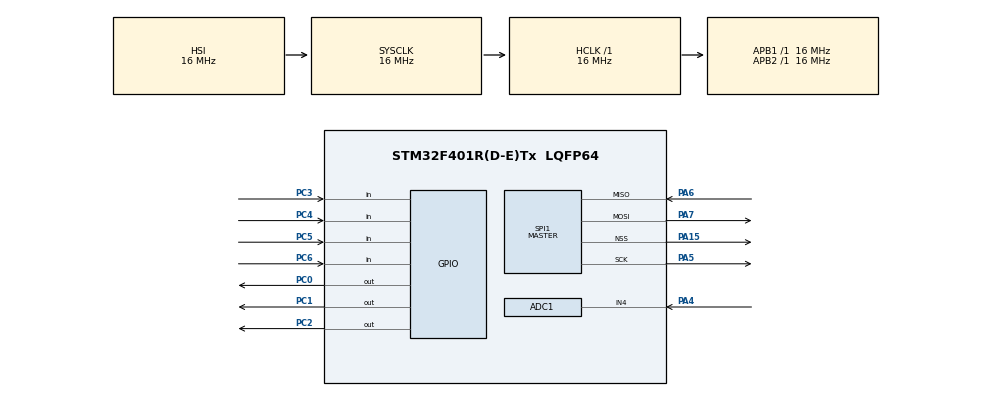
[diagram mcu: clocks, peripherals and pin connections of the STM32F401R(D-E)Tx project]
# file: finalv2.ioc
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ADC1.Channel-1\#ChannelRegularConversion=ADC_CHANNEL_4
ADC1.NbrOfConversionFlag=1
ADC1.Rank-1\#ChannelRegularConversion=1
ADC1.SamplingTime-1\#ChannelRegularConversion=ADC_SAMPLETIME_3CYCLES
ADC1.ScanConvMode=ENABLE
ADC1.master=1
Mcu.Family=STM32F4
Mcu.Name=STM32F401R(D-E)Tx
Mcu.Package=LQFP64
NVIC.PriorityGroup=NVIC_PRIORITYGROUP_4
PA15.Mode=NSS_Signal_Hard_Output
PA15.Signal=SPI1_NSS
PA4.Signal=ADCx_IN4
PA5.Mode=Full_Duplex_Master
PA5.Signal=SPI1_SCK
PA6.Mode=Full_Duplex_Master
PA6.Signal=SPI1_MISO
PA7.Mode=Full_Duplex_Master
PA7.Signal=SPI1_MOSI
PC0.Signal=GPIO_Output
PC1.Signal=GPIO_Output
PC2.Signal=GPIO_Output
PC3.Signal=GPIO_Input
PC4.Signal=GPIO_Input
PC5.Signal=GPIO_Input
PC6.Signal=GPIO_Input
ProjectManager.HeapSize=0x200
ProjectManager.StackSize=0x400
ProjectManager.TargetToolchain=MDK-ARM V5.32
RCC.AHBFreq_Value=16000000
RCC.APB1Freq_Value=16000000
RCC.APB2Freq_Value=16000000
RCC.CortexFreq_Value=16000000
RCC.HSE_VALUE=25000000
RCC.HSI_VALUE=16000000
RCC.LSE_VALUE=32768
RCC.SYSCLKFreq_VALUE=16000000
RCC.VCOOutputFreq_Value=192000000
SH.ADCx_IN4.0=ADC1_IN4,IN4
SPI1.Direction=SPI_DIRECTION_2LINES
SPI1.Mode=SPI_MODE_MASTER
SPI1.VirtualNSS=VM_NSSHARD
SPI1.VirtualType=VM_MASTER
board=custom

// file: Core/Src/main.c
/* USER CODE BEGIN Header */
/**
  ******************************************************************************
  * @file           : main.c
  * @brief          : Main program body
  ******************************************************************************
  * @attention
  *
  * Copyright (c) 2023 STMicroelectronics.
  * All rights reserved.
  *
  * This software is licensed under terms that can be found in the LICENSE file
  * in the root directory of this software component.
  * If no LICENSE file comes with this software, it is provided AS-IS.
  *
  ******************************************************************************
  */
/* USER CODE END Header */
#include "main.h"

/* USER CODE BEGIN Includes */
#include "../../Drivers/LCD16x2Lib/LCD.h"
#include "stdio.h"
#include <stdlib.h> // needed for malloc function
/* USER CODE END Includes */

 ADC_HandleTypeDef hadc1;
 SPI_HandleTypeDef hspi1;

/* USER CODE BEGIN PFP */
void SystemClock_Config(void);
static void MX_GPIO_Init(void);
static void MX_ADC1_Init(void);
static void MX_SPI1_Init(void);
int read_keypad(void);
int get_timer_from_p(void);
int read_one_from_keypad(void);
int get_row(void);
int get_frequence_from_p(void);
/* USER CODE END PFP */

int main(void)
{

  /* MCU Configuration--------------------------------------------------------*/

  /* Reset of all peripherals, Initializes the Flash interface and the Systick. */
  HAL_Init();

  /* Configure the system clock */
  SystemClock_Config();

  /* Initialize all configured peripherals */
  MX_GPIO_Init();
  MX_ADC1_Init();
	 MX_SPI1_Init();
  /* USER CODE BEGIN 2 */
	LCD_Init();

  /* USER CODE END 2 */

  /* Infinite loop */
  /* USER CODE BEGIN WHILE */
   	LCD_Puts(4, 0, "99243018");
 	HAL_Delay(2000);
 	LCD_Clear();
	LCD_Puts(0, 0, "1.sin 2.squ 3.ab");
	LCD_Puts(0, 1, "4.stp 5.tri 6.sa");
	HAL_Delay(5000);
	int input=-10;
	char str[33];
	while(1){
  	input=read_keypad();
		LCD_Clear();
		sprintf(str,"%01d",input);
		LCD_Puts(0,0,str);
		HAL_Delay(2000);
		if(input>=1 && input<=6)
				break;
		else
			continue;
	}

	LCD_Clear();
	LCD_Puts(0,0,"You chose wave:");
	sprintf(str, "%01d", input);
	LCD_Puts(4, 1,str);
	HAL_Delay(2000);
	HAL_Delay(10);
	LCD_Clear();
	LCD_Puts(0, 0,"select time :");
	uint16_t duration_on_lcd,freq_on_lcd;
	//uint16_t duration, frequency;
	while(read_one_from_keypad()!=-2){
			duration_on_lcd=get_timer_from_p();
		  //duration_on_lcd=duration* 9500/ 4095+500;
			sprintf(str, "%05d", duration_on_lcd);
			LCD_Clear();
			LCD_Puts(4, 1,str);
   }
	LCD_Clear();
	LCD_Puts(0, 0,"select frequency :");
		while(read_one_from_keypad()!=-2){
				freq_on_lcd=get_frequence_from_p();
	  		//freq_on_lcd= frequency* 999/4095 + 1;
				sprintf(str, "%05d", freq_on_lcd);
				LCD_Clear();
				LCD_Puts(4, 1,str);
			}

    uint16_t data[3];
		data[0]=freq_on_lcd;
		data[1]=duration_on_lcd;
		data[2]=input;
		//declaring rx_and tx_buffer for the master to send and receive from the slave
		uint8_t *tx_buffer = (uint8_t*) malloc(6 * sizeof(uint8_t));
		uint8_t *rx_buffer = (uint8_t*) malloc(1 * sizeof(uint8_t));
		LCD_Clear();
		for (int i = 0; i < 3; i++) {
    tx_buffer[i * 2] = (uint8_t)(data[i] >> 8); // Most significant byte
    tx_buffer[i * 2 + 1] = (uint8_t)(data[i]); // Least significant byte
		sprintf(str, "%msb is %08d",tx_buffer[i*2]);
		LCD_Puts(0, 0,str);
		sprintf(str, "lsb is %08d",tx_buffer[i*2+1]);
		LCD_Puts(0, 1,str);
  	HAL_Delay(1000);
		LCD_Clear();
    }
		//send the data to the salve
		HAL_SPI_Transmit(&hspi1,tx_buffer,6,HAL_MAX_DELAY);
		LCD_Puts(0,0,"done");
	  uint16_t freq_r=0,model_r=0,du_r=0;
		HAL_Delay(100);
		//LCD_Clear();
		//converting to mod

  while (1)
  {
    /* USER CODE END WHILE */

    /* USER CODE BEGIN 3 */

		//rx_buffer[0]=0;
		//receiving data from the salve and check if we have sent it right
  }

  /* USER CODE END 3 */
}

void SystemClock_Config(void)
{
  RCC_OscInitTypeDef RCC_OscInitStruct = {0};
  RCC_ClkInitTypeDef RCC_ClkInitStruct = {0};

  /** Configure the main internal regulator output voltage
  */
  __HAL_RCC_PWR_CLK_ENABLE();
  __HAL_PWR_VOLTAGESCALING_CONFIG(PWR_REGULATOR_VOLTAGE_SCALE2);

  /** Initializes the RCC Oscillators according to the specified parameters
  * in the RCC_OscInitTypeDef structure.
  */
  RCC_OscInitStruct.OscillatorType = RCC_OSCILLATORTYPE_HSI;
  RCC_OscInitStruct.HSIState = RCC_HSI_ON;
  RCC_OscInitStruct.HSICalibrationValue = RCC_HSICALIBRATION_DEFAULT;
  RCC_OscInitStruct.PLL.PLLState = RCC_PLL_NONE;
  if (HAL_RCC_OscConfig(&RCC_OscInitStruct) != HAL_OK)
  {
    Error_Handler();
  }

  /** Initializes the CPU, AHB and APB buses clocks
  */
  RCC_ClkInitStruct.ClockType = RCC_CLOCKTYPE_HCLK|RCC_CLOCKTYPE_SYSCLK
                              |RCC_CLOCKTYPE_PCLK1|RCC_CLOCKTYPE_PCLK2;
  RCC_ClkInitStruct.SYSCLKSource = RCC_SYSCLKSOURCE_HSI;
  RCC_ClkInitStruct.AHBCLKDivider = RCC_SYSCLK_DIV1;
  RCC_ClkInitStruct.APB1CLKDivider = RCC_HCLK_DIV1;
  RCC_ClkInitStruct.APB2CLKDivider = RCC_HCLK_DIV1;

  if (HAL_RCC_ClockConfig(&RCC_ClkInitStruct, FLASH_LATENCY_0) != HAL_OK)
  {
    Error_Handler();
  }
}

static void MX_ADC1_Init(void)
{

  ADC_ChannelConfTypeDef sConfig = {0};

  /** Configure the global features of the ADC (Clock, Resolution, Data Alignment and number of conversion)
  */
  hadc1.Instance = ADC1;
  hadc1.Init.ClockPrescaler = ADC_CLOCK_SYNC_PCLK_DIV2;
  hadc1.Init.Resolution = ADC_RESOLUTION_12B;
  hadc1.Init.ScanConvMode = DISABLE;
  hadc1.Init.ContinuousConvMode = DISABLE;
  hadc1.Init.DiscontinuousConvMode = DISABLE;
  hadc1.Init.ExternalTrigConvEdge = ADC_EXTERNALTRIGCONVEDGE_NONE;
  hadc1.Init.ExternalTrigConv = ADC_SOFTWARE_START;
  hadc1.Init.DataAlign = ADC_DATAALIGN_RIGHT;
  hadc1.Init.NbrOfConversion = 1;
  hadc1.Init.DMAContinuousRequests = DISABLE;
  hadc1.Init.EOCSelection = ADC_EOC_SINGLE_CONV;
  if (HAL_ADC_Init(&hadc1) != HAL_OK)
  {
    Error_Handler();
  }

  /** Configure for the selected ADC regular channel its corresponding rank in the sequencer and its sample time.
  */
  sConfig.Channel = ADC_CHANNEL_4;
  sConfig.Rank = 1;
  sConfig.SamplingTime = ADC_SAMPLETIME_3CYCLES;
  if (HAL_ADC_ConfigChannel(&hadc1, &sConfig) != HAL_OK)
  {
    Error_Handler();
  }

}
static void MX_SPI1_Init(void)
{

  /* SPI1 parameter configuration*/
  hspi1.Instance = SPI1;
  hspi1.Init.Mode = SPI_MODE_MASTER;
  hspi1.Init.Direction = SPI_DIRECTION_2LINES;
  hspi1.Init.DataSize = SPI_DATASIZE_8BIT;
  hspi1.Init.CLKPolarity = SPI_POLARITY_LOW;
  hspi1.Init.CLKPhase = SPI_PHASE_1EDGE;
  hspi1.Init.NSS = SPI_NSS_HARD_OUTPUT;
  hspi1.Init.BaudRatePrescaler = SPI_BAUDRATEPRESCALER_2;
  hspi1.Init.FirstBit = SPI_FIRSTBIT_MSB;
  hspi1.Init.TIMode = SPI_TIMODE_DISABLE;
  hspi1.Init.CRCCalculation = SPI_CRCCALCULATION_DISABLE;
  hspi1.Init.CRCPolynomial = 10;
  if (HAL_SPI_Init(&hspi1) != HAL_OK)
  {
    Error_Handler();
  }

}

static void MX_GPIO_Init(void)
{
  GPIO_InitTypeDef GPIO_InitStruct = {0};

  /* GPIO Ports Clock Enable */
  __HAL_RCC_GPIOC_CLK_ENABLE();
  __HAL_RCC_GPIOA_CLK_ENABLE();
  __HAL_RCC_GPIOB_CLK_ENABLE();

  /*Configure GPIO pin Output Level */
  HAL_GPIO_WritePin(GPIOC, GPIO_PIN_0|GPIO_PIN_1|GPIO_PIN_2, GPIO_PIN_RESET);

  /*Configure GPIO pins : PC0 PC1 PC2 */
  GPIO_InitStruct.Pin = GPIO_PIN_0|GPIO_PIN_1|GPIO_PIN_2;
  GPIO_InitStruct.Mode = GPIO_MODE_OUTPUT_PP;
  GPIO_InitStruct.Pull = GPIO_NOPULL;
  GPIO_InitStruct.Speed = GPIO_SPEED_FREQ_LOW;
  HAL_GPIO_Init(GPIOC, &GPIO_InitStruct);

  /*Configure GPIO pins : PC3 PC4 PC5 PC6 */
  GPIO_InitStruct.Pin = GPIO_PIN_3|GPIO_PIN_4|GPIO_PIN_5|GPIO_PIN_6;
  GPIO_InitStruct.Mode = GPIO_MODE_INPUT;
  GPIO_InitStruct.Pull = GPIO_NOPULL;
  HAL_GPIO_Init(GPIOC, &GPIO_InitStruct);

}

/* USER CODE BEGIN 4 */
int get_timer_from_p(void){
  uint16_t adc_value;
  uint16_t time_ms;
  HAL_ADC_Start(&hadc1);
    HAL_ADC_PollForConversion(&hadc1, HAL_MAX_DELAY);
    adc_value = HAL_ADC_GetValue(&hadc1);
    HAL_ADC_Stop(&hadc1);
    // Start ADC conversion
   // HAL_ADC_Start(&hadc1);
    // Wait for ADC conversion to complete
   // HAL_ADC_PollForConversion(&hadc1, 100);
    // Read ADC value and calculate time
  //  adc_value = HAL_ADC_GetValue(&hadc1);
  //time_ms=adc_value;
 //time_ms=potentiometerValue+100;
    time_ms = adc_value * 9500 / 4095 + 500; // Map ADC value to 500-10000ms range
	//  time_ms=adc_value;
    // Do something with time, such as delay for that amount of time
    //HAL_Delay(time_ms);
    // Wait for next iteration
  // HAL_Delay(100);
return time_ms;
}
int get_frequence_from_p(void){
uint16_t adc_value;
  uint16_t frequencee;
 HAL_ADC_Start(&hadc1);
    HAL_ADC_PollForConversion(&hadc1, HAL_MAX_DELAY);
    adc_value = HAL_ADC_GetValue(&hadc1);
    HAL_ADC_Stop(&hadc1);
	 // frequencee=adc_value;
    frequencee = adc_value * 999/4095+ 1; // Map ADC value to 500-10000ms range
return frequencee;
}

int get_row(void)
{
  int input_state=1;
  int row=-1;
  input_state = HAL_GPIO_ReadPin(GPIOC, GPIO_PIN_3);//pin 3 be satr aval motasel hast
  if (input_state ==0)//age input =1 bashe pas satr 1 ro drim
  {
   row=1;
   return row;
  }
   input_state = HAL_GPIO_ReadPin(GPIOC, GPIO_PIN_4);
  if (input_state ==0)
  {
   row=2;
   return row;
  }
    input_state = HAL_GPIO_ReadPin(GPIOC, GPIO_PIN_5);
  if (input_state ==0)
  {
   row=3;
   return row;
  }
    input_state = HAL_GPIO_ReadPin(GPIOC, GPIO_PIN_6);
  if (input_state ==0)
  {
   row=4;
   return row;
  }
return row;
}
int read_one_from_keypad(void){
int key_pad_get[4][3]={
{1,2,3},
{4,5,6},
{7,8,9},
{-1,0,-2}
};
  HAL_GPIO_WritePin(GPIOC, GPIO_PIN_0 | GPIO_PIN_1 | GPIO_PIN_2, GPIO_PIN_SET);
HAL_GPIO_WritePin(GPIOC, GPIO_PIN_3 | GPIO_PIN_4 | GPIO_PIN_5|GPIO_PIN_6, GPIO_PIN_SET);
int col=-1,row=-1;
  HAL_GPIO_WritePin(GPIOC, GPIO_PIN_2,GPIO_PIN_RESET);//miam port_c_2=1 miknm yani sotun aval
  HAL_Delay(30);
  row=get_row();

  if (row!=-1)
  {
   col=1;
   return key_pad_get[row-1][col-1] ;
  }
HAL_GPIO_WritePin(GPIOC, GPIO_PIN_2,GPIO_PIN_SET);//dobare pin2_c ro 0 miknm
HAL_GPIO_TogglePin(GPIOC, GPIO_PIN_1);//pin 1 ro 1 miknm
  HAL_Delay(30);
  row=get_row();
  if (row!=-1)
  {
   col=2;
   return key_pad_get[row-1][col-1] ;
  }
  HAL_GPIO_TogglePin(GPIOC, GPIO_PIN_1);
HAL_GPIO_TogglePin(GPIOC, GPIO_PIN_0);
  HAL_Delay(30);
  row=get_row();
  if (row!=-1)
  {
      col=3;
      return key_pad_get[row-1][col-1] ;
  }
  HAL_GPIO_TogglePin(GPIOC, GPIO_PIN_0);
return -10;
}

int read_keypad(void)
{
//LCD_Puts(4,0,"processing");
int key_pad_get[4][3]={
{1,2,3},
{4,5,6},
{7,8,9},
{-1,0,-2}
};
  HAL_GPIO_WritePin(GPIOC, GPIO_PIN_0 | GPIO_PIN_1 | GPIO_PIN_2, GPIO_PIN_SET);
HAL_GPIO_WritePin(GPIOC, GPIO_PIN_3 | GPIO_PIN_4 | GPIO_PIN_5|GPIO_PIN_6, GPIO_PIN_SET);
int col=-1,row=-1;
while (1){
  HAL_GPIO_WritePin(GPIOC, GPIO_PIN_2,GPIO_PIN_RESET);//miam port_c_2=1 miknm yani sotun aval
  HAL_Delay(30);
  row=get_row();

  if (row!=-1)
  {
   col=1;
   return key_pad_get[row-1][col-1] ;
  }
HAL_GPIO_WritePin(GPIOC, GPIO_PIN_2,GPIO_PIN_SET);//dobare pin2_c ro 0 miknm
  //HAL_GPIO_TogglePin(GPIOC, GPIO_PIN_2);
HAL_GPIO_TogglePin(GPIOC, GPIO_PIN_1);//pin 1 ro 1 miknm
  HAL_Delay(30);
  row=get_row();
  if (row!=-1)
  {
   col=2;
   return key_pad_get[row-1][col-1] ;
  }
  HAL_GPIO_TogglePin(GPIOC, GPIO_PIN_1);
HAL_GPIO_TogglePin(GPIOC, GPIO_PIN_0);
  HAL_Delay(30);
  row=get_row();
  if (row!=-1)
  {
      col=3;
      return key_pad_get[row-1][col-1] ;
  }
  HAL_GPIO_TogglePin(GPIOC, GPIO_PIN_0);
 }
return -1;
}
/* USER CODE END 4 */

void Error_Handler(void)
{
  __disable_irq();
  while (1)
  {
  }
}
